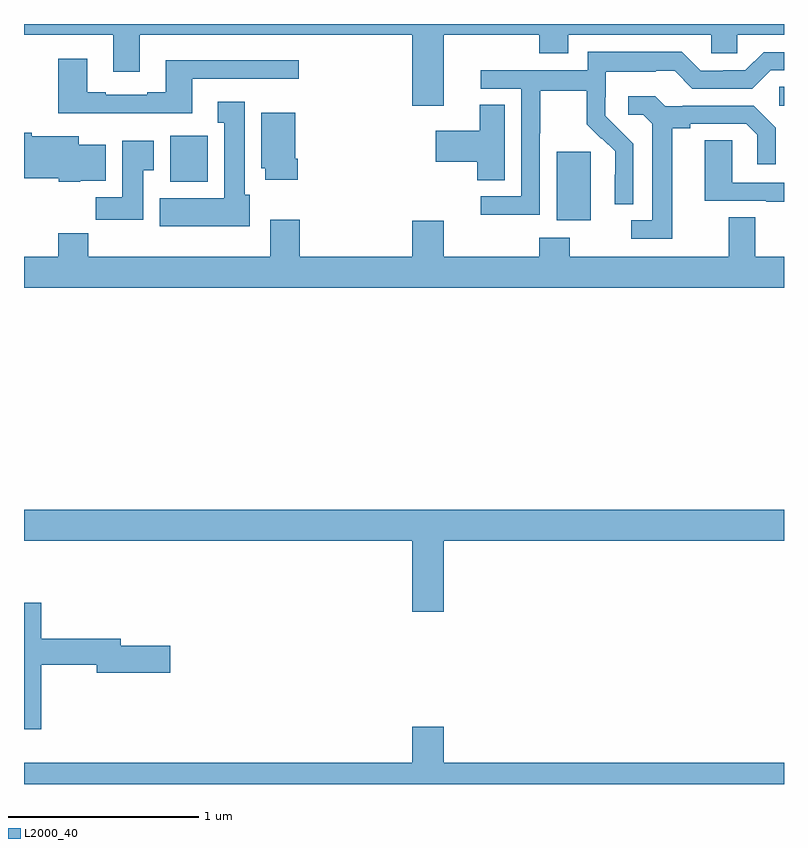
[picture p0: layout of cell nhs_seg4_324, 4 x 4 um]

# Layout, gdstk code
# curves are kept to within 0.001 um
import gdstk
lib = gdstk.Library(unit=1e-6, precision=1e-09)
def R(c, l, rs):  # rectangles x0, y0, x1, y1
    for r in rs: c.add(gdstk.rectangle(r[:2], r[2:], *l))
def P(c, l, *ps):  # polygons
    for p in ps: c.add(gdstk.Polygon(p, *l))
L2000_40 = (2000, 40)

nhs_seg4_324 = lib.new_cell('nhs_seg4_324')
R(nhs_seg4_324, L2000_40, [(129.803,771.866,129.982,772.227), (127.769,772.07,127.966,772.312), (130.974,772.47,131,772.571)])
P(nhs_seg4_324, L2000_40, [(129.208,772.844),(129.713,772.844),(129.713,772.745),(129.865,772.745),(129.865,772.844),(130.617,772.844),(130.617,772.746),(130.755,772.746),(130.755,772.844),(131,772.844),(131,772.9),(127,772.9),(127,772.844),(127.469,772.844),(127.469,772.65),(127.609,772.65),(127.609,772.844),(129.044,772.844),(129.044,772.47),(129.208,772.47)],
  [(129.714,772.324),(129.717,772.324),(129.717,772.548),(129.961,772.548),(129.961,772.373),(130.038,772.296),(130.041,772.299),(130.112,772.229),(130.112,772.106),(130.11,772.106),(130.11,771.952),(130.206,771.952),(130.206,772.27),(130.06,772.418),(130.06,772.515),(130.062,772.515),(130.062,772.649),(130.325,772.649),(130.325,772.653),(130.425,772.653),(130.518,772.56),(130.833,772.56),(130.929,772.656),(131,772.656),(131,772.752),(130.893,772.752),(130.797,772.656),(130.679,772.656),(130.679,772.653),(130.563,772.653),(130.463,772.753),(129.966,772.753),(129.966,772.656),(129.405,772.656),(129.405,772.56),(129.618,772.56),(129.618,771.993),(129.405,771.993),(129.405,771.895),(129.714,771.895)],
  [(127.885,772.611),(128.446,772.611),(128.446,772.708),(127.745,772.708),(127.745,772.54),(127.649,772.54),(127.649,772.527),(127.429,772.527),(127.429,772.54),(127.333,772.54),(127.333,772.717),(127.181,772.717),(127.181,772.43),(127.885,772.43)],
  [(130.411,772.352),(130.507,772.352),(130.507,772.374),(130.802,772.374),(130.859,772.317),(130.859,772.161),(130.956,772.161),(130.956,772.354),(130.84,772.47),(130.468,772.47),(130.468,772.467),(130.374,772.467),(130.322,772.519),(130.179,772.519),(130.179,772.422),(130.26,772.422),(130.307,772.375),(130.307,771.867),(130.197,771.867),(130.197,771.771),(130.411,771.771)],
  [(128.188,772.002),(128.161,772.002),(128.161,772.492),(128.021,772.492),(128.021,772.379),(128.054,772.379),(128.054,771.982),(127.715,771.982),(127.715,771.836),(128.188,771.836)],
  [(129.529,772.475),(129.398,772.475),(129.398,772.339),(129.168,772.339),(129.168,772.174),(129.386,772.174),(129.386,772.078),(129.529,772.078)],
  [(128.441,772.192),(128.428,772.192),(128.428,772.432),(128.249,772.432),(128.249,772.14),(128.27,772.14),(128.27,772.08),(128.441,772.08)],
  [(127.296,772.076),(127.429,772.076),(127.429,772.264),(127.288,772.264),(127.288,772.309),(127.042,772.309),(127.042,772.328),(127,772.328),(127,772.088),(127.182,772.088),(127.182,772.07),(127.296,772.07)],
  [(131,772.065),(130.728,772.065),(130.728,772.289),(130.583,772.289),(130.583,771.969),(130.907,771.969),(130.907,771.965),(131,771.965)],
  [(127.627,772.129),(127.684,772.129),(127.684,772.285),(127.517,772.285),(127.517,771.988),(127.378,771.988),(127.378,771.87),(127.627,771.87)],
  [(131,771.676),(130.849,771.676),(130.849,771.884),(130.709,771.884),(130.709,771.676),(129.873,771.676),(129.873,771.775),(129.713,771.775),(129.713,771.676),(129.208,771.676),(129.208,771.865),(129.044,771.865),(129.044,771.676),(128.45,771.676),(128.45,771.871),(128.297,771.871),(128.297,771.676),(127.337,771.676),(127.337,771.8),(127.181,771.8),(127.181,771.676),(127,771.676),(127,771.512),(131,771.512)],
  [(129.208,770.18),(131,770.18),(131,770.344),(127,770.344),(127,770.18),(129.044,770.18),(129.044,769.806),(129.208,769.806)],
  [(127.091,769.528),(127.382,769.528),(127.382,769.486),(127.771,769.486),(127.771,769.628),(127.51,769.628),(127.51,769.664),(127.091,769.664),(127.091,769.855),(127,769.855),(127,769.188),(127.091,769.188)],
  [(131,769.012),(129.208,769.012),(129.208,769.201),(129.044,769.201),(129.044,769.012),(127,769.012),(127,768.9),(131,768.9)])

lib.write_gds('nhs_seg4_324.gds')
